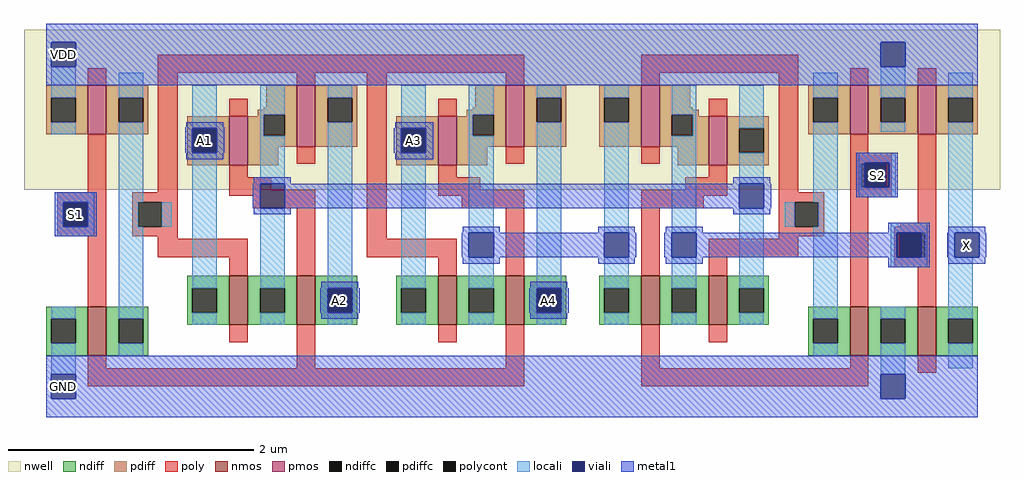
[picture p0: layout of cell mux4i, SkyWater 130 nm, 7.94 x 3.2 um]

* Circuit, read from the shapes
.subckt mux4i A1 A2 A3 A4 GND S1 S2 VDD X
XM1 n1 S1 GND VSUBS sky130_fd_pr__nfet_01v8 w=0.4 l=0.15
XM2 n2 n1 A1 VSUBS sky130_fd_pr__nfet_01v8 w=0.4 l=0.15
XM3 A2 S1 n2 VSUBS sky130_fd_pr__nfet_01v8 w=0.4 l=0.15
XM4 n3 n1 A3 VSUBS sky130_fd_pr__nfet_01v8 w=0.4 l=0.15
XM5 A4 S1 n3 VSUBS sky130_fd_pr__nfet_01v8 w=0.4 l=0.15
XM6 n4 S2 n3 VSUBS sky130_fd_pr__nfet_01v8 w=0.4 l=0.15
XM7 n2 n5 n4 VSUBS sky130_fd_pr__nfet_01v8 w=0.4 l=0.15
XM8 GND S2 n5 VSUBS sky130_fd_pr__nfet_01v8 w=0.4 l=0.15
XM9 X n4 GND VSUBS sky130_fd_pr__nfet_01v8 w=0.4 l=0.15
XM10 n1 S1 VDD n6 sky130_fd_pr__pfet_01v8 w=0.4 l=0.15
XM11 n2 S1 A1 n6 sky130_fd_pr__pfet_01v8 w=0.4 l=0.15
XM12 A2 n1 n2 n6 sky130_fd_pr__pfet_01v8 w=0.5 l=0.15
XM13 n3 S1 A3 n6 sky130_fd_pr__pfet_01v8 w=0.4 l=0.15
XM14 A4 n1 n3 n6 sky130_fd_pr__pfet_01v8 w=0.5 l=0.15
XM15 n4 n5 n3 n6 sky130_fd_pr__pfet_01v8 w=0.5 l=0.15
XM16 n2 S2 n4 n6 sky130_fd_pr__pfet_01v8 w=0.4 l=0.15
XM17 VDD S2 n5 n6 sky130_fd_pr__pfet_01v8 w=0.4 l=0.15
XM18 X n4 VDD n6 sky130_fd_pr__pfet_01v8 w=0.4 l=0.15
.ends

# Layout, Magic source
magic
tech sky130A
<< nwell >>
rect -17 185 777 315
<< nmos >>
rect 35 50 50 90
rect 150 75 165 115
rect 205 75 220 115
rect 320 75 335 115
rect 375 75 390 115
rect 485 75 500 115
rect 540 75 555 115
rect 655 50 670 90
rect 710 50 725 90
<< pmos >>
rect 35 230 50 270
rect 150 205 165 245
rect 205 220 220 270
rect 320 205 335 245
rect 375 220 390 270
rect 485 220 500 270
rect 540 205 555 245
rect 655 230 670 270
rect 710 230 725 270
<< ndiff >>
rect 116 105 150 115
rect 1 80 35 90
rect 1 60 5 80
rect 25 60 35 80
rect 1 50 35 60
rect 50 80 84 90
rect 50 60 60 80
rect 80 60 84 80
rect 116 85 120 105
rect 140 85 150 105
rect 116 75 150 85
rect 165 105 205 115
rect 165 85 175 105
rect 195 85 205 105
rect 165 75 205 85
rect 220 105 254 115
rect 220 85 230 105
rect 250 85 254 105
rect 220 75 254 85
rect 286 105 320 115
rect 286 85 290 105
rect 310 85 320 105
rect 286 75 320 85
rect 335 105 375 115
rect 335 85 345 105
rect 365 85 375 105
rect 335 75 375 85
rect 390 105 424 115
rect 390 85 400 105
rect 420 85 424 105
rect 390 75 424 85
rect 451 105 485 115
rect 451 85 455 105
rect 475 85 485 105
rect 451 75 485 85
rect 500 105 540 115
rect 500 85 510 105
rect 530 85 540 105
rect 500 75 540 85
rect 555 105 589 115
rect 555 85 565 105
rect 585 85 589 105
rect 555 75 589 85
rect 621 80 655 90
rect 50 50 84 60
rect 621 60 625 80
rect 645 60 655 80
rect 621 50 655 60
rect 670 80 710 90
rect 670 60 680 80
rect 700 60 710 80
rect 670 50 710 60
rect 725 80 759 90
rect 725 60 735 80
rect 755 60 759 80
rect 725 50 759 60
<< pdiff >>
rect 1 260 35 270
rect 1 240 5 260
rect 25 240 35 260
rect 1 230 35 240
rect 50 260 84 270
rect 50 240 60 260
rect 80 240 84 260
rect 50 230 84 240
rect 180 252 205 270
rect 178 250 205 252
rect 173 246 205 250
rect 173 245 178 246
rect 116 235 150 245
rect 116 215 120 235
rect 140 215 150 235
rect 116 205 150 215
rect 165 229 178 245
rect 195 229 205 246
rect 165 220 205 229
rect 220 260 254 270
rect 220 240 230 260
rect 250 240 254 260
rect 220 220 254 240
rect 165 205 190 220
rect 350 252 375 270
rect 348 250 375 252
rect 343 246 375 250
rect 343 245 348 246
rect 286 235 320 245
rect 286 215 290 235
rect 310 215 320 235
rect 286 205 320 215
rect 335 229 348 245
rect 365 229 375 246
rect 335 220 375 229
rect 390 260 424 270
rect 390 240 400 260
rect 420 240 424 260
rect 390 220 424 240
rect 451 260 485 270
rect 451 240 455 260
rect 475 240 485 260
rect 451 220 485 240
rect 500 252 525 270
rect 500 250 527 252
rect 500 246 532 250
rect 500 229 510 246
rect 527 245 532 246
rect 527 229 540 245
rect 500 220 540 229
rect 335 205 360 220
rect 515 205 540 220
rect 555 235 589 245
rect 555 215 565 235
rect 585 215 589 235
rect 555 205 589 215
rect 621 260 655 270
rect 621 240 625 260
rect 645 240 655 260
rect 621 230 655 240
rect 670 260 710 270
rect 670 240 680 260
rect 700 240 710 260
rect 670 230 710 240
rect 725 260 759 270
rect 725 240 735 260
rect 755 240 759 260
rect 725 230 759 240
<< ndiffc >>
rect 5 60 25 80
rect 60 60 80 80
rect 120 85 140 105
rect 175 85 195 105
rect 230 85 250 105
rect 290 85 310 105
rect 345 85 365 105
rect 400 85 420 105
rect 455 85 475 105
rect 510 85 530 105
rect 565 85 585 105
rect 625 60 645 80
rect 680 60 700 80
rect 735 60 755 80
<< pdiffc >>
rect 5 240 25 260
rect 60 240 80 260
rect 120 215 140 235
rect 178 229 195 246
rect 230 240 250 260
rect 290 215 310 235
rect 348 229 365 246
rect 400 240 420 260
rect 455 240 475 260
rect 510 229 527 246
rect 565 215 585 235
rect 625 240 645 260
rect 680 240 700 260
rect 735 240 755 260
<< poly >>
rect 35 270 50 284
rect 92 280 390 295
rect 35 183 50 230
rect 92 183 108 280
rect 205 270 220 280
rect 150 245 165 259
rect 205 206 220 220
rect 10 175 50 183
rect 10 155 15 175
rect 34 155 50 175
rect 10 147 50 155
rect 71 175 108 183
rect 150 195 165 205
rect 150 185 184 195
rect 150 180 220 185
rect 71 155 76 175
rect 95 155 108 175
rect 169 170 220 180
rect 71 147 108 155
rect 35 90 50 147
rect 92 145 108 147
rect 92 130 165 145
rect 150 115 165 130
rect 205 115 220 170
rect 262 145 278 280
rect 375 270 390 280
rect 485 280 613 295
rect 485 270 500 280
rect 320 245 335 259
rect 540 245 555 259
rect 375 206 390 220
rect 485 206 500 220
rect 320 195 335 205
rect 540 195 555 205
rect 320 185 354 195
rect 521 185 555 195
rect 320 180 390 185
rect 339 170 390 180
rect 262 130 335 145
rect 320 115 335 130
rect 375 115 390 170
rect 485 180 555 185
rect 597 183 613 280
rect 655 270 670 284
rect 710 270 725 284
rect 655 215 670 230
rect 655 206 689 215
rect 655 187 664 206
rect 684 187 689 206
rect 485 170 536 180
rect 597 175 634 183
rect 485 115 500 170
rect 597 155 610 175
rect 629 155 634 175
rect 597 147 634 155
rect 655 179 689 187
rect 597 145 613 147
rect 540 130 613 145
rect 540 115 555 130
rect 655 90 670 179
rect 710 158 725 230
rect 696 155 725 158
rect 691 150 725 155
rect 691 130 696 150
rect 716 130 725 150
rect 691 122 725 130
rect 710 90 725 122
rect 150 61 165 75
rect 35 40 50 50
rect 205 40 220 75
rect 320 61 335 75
rect 375 40 390 75
rect 35 25 390 40
rect 485 40 500 75
rect 540 61 555 75
rect 655 40 670 50
rect 485 25 670 40
rect 710 36 725 50
<< polycont >>
rect 15 155 34 175
rect 76 155 95 175
rect 664 187 684 206
rect 610 155 629 175
rect 696 130 716 150
<< locali >>
rect 5 260 25 285
rect 5 230 25 240
rect 60 260 80 280
rect 10 175 40 183
rect 10 155 15 175
rect 35 155 40 175
rect 10 147 40 155
rect 60 175 80 240
rect 120 235 140 270
rect 60 155 76 175
rect 95 155 103 175
rect 5 80 25 90
rect 5 35 25 60
rect 60 80 80 155
rect 120 105 140 215
rect 120 75 140 85
rect 175 246 195 270
rect 175 229 178 246
rect 175 190 195 229
rect 175 105 195 170
rect 175 75 195 85
rect 230 260 250 270
rect 230 105 250 240
rect 230 75 250 85
rect 290 235 310 270
rect 290 105 310 215
rect 290 75 310 85
rect 345 246 365 270
rect 345 229 348 246
rect 345 150 365 229
rect 345 105 365 130
rect 345 75 365 85
rect 400 260 420 270
rect 400 105 420 240
rect 400 75 420 85
rect 455 260 475 270
rect 455 150 475 240
rect 455 105 475 130
rect 455 75 475 85
rect 510 246 530 270
rect 527 229 530 246
rect 510 150 530 229
rect 510 105 530 130
rect 510 75 530 85
rect 565 235 585 270
rect 565 190 585 215
rect 625 260 645 280
rect 625 175 645 240
rect 680 260 700 285
rect 680 232 700 240
rect 735 260 755 280
rect 662 207 692 215
rect 662 206 667 207
rect 662 187 664 206
rect 687 187 692 207
rect 662 179 692 187
rect 565 105 585 170
rect 602 155 610 175
rect 629 155 645 175
rect 565 75 585 85
rect 625 80 645 155
rect 688 150 718 158
rect 688 130 693 150
rect 716 130 718 150
rect 688 122 718 130
rect 735 150 755 240
rect 735 130 740 150
rect 60 50 80 60
rect 625 50 645 60
rect 680 80 700 90
rect 680 35 700 60
rect 735 80 755 130
rect 735 40 755 60
<< viali >>
rect 5 285 25 305
rect 680 285 700 305
rect 15 155 34 175
rect 34 155 35 175
rect 120 215 140 235
rect 175 170 195 190
rect 230 85 250 105
rect 290 215 310 235
rect 345 130 365 150
rect 400 85 420 105
rect 455 130 475 150
rect 510 130 530 150
rect 565 170 585 190
rect 667 206 687 207
rect 667 187 684 206
rect 684 187 687 206
rect 693 130 696 150
rect 696 130 713 150
rect 740 130 760 150
rect 5 15 25 35
rect 680 15 700 35
<< metal1 >>
rect 1 305 759 320
rect 1 285 5 305
rect 25 285 680 305
rect 700 285 759 305
rect 1 270 759 285
rect 115 236 145 240
rect 114 235 146 236
rect 285 235 316 240
rect 114 215 120 235
rect 140 215 146 235
rect 284 215 290 235
rect 310 215 316 235
rect 115 210 145 215
rect 285 210 316 215
rect 660 207 694 215
rect 170 190 200 195
rect 560 190 590 195
rect 8 175 42 183
rect 8 155 15 175
rect 35 155 42 175
rect 169 170 175 190
rect 195 170 565 190
rect 585 170 591 190
rect 660 187 667 207
rect 687 187 694 207
rect 660 179 694 187
rect 170 165 200 170
rect 560 165 590 170
rect 8 147 42 155
rect 340 150 370 155
rect 450 150 480 155
rect 505 150 535 155
rect 686 150 720 158
rect 735 150 765 155
rect 339 130 345 150
rect 365 130 455 150
rect 475 130 481 150
rect 504 130 510 150
rect 530 130 693 150
rect 713 130 720 150
rect 734 130 740 150
rect 760 130 766 150
rect 340 125 370 130
rect 450 125 480 130
rect 505 125 535 130
rect 686 122 720 130
rect 735 125 765 130
rect 225 105 255 110
rect 395 105 425 110
rect 224 85 230 105
rect 250 85 256 105
rect 394 85 400 105
rect 420 85 426 105
rect 225 80 255 85
rect 395 80 425 85
rect 1 35 759 50
rect 1 15 5 35
rect 25 15 680 35
rect 700 15 759 35
rect 1 0 759 15
<< labels >>
rlabel viali 15 295 15 295 1 VDD
rlabel viali 15 25 15 25 1 GND
rlabel viali 130 225 130 225 1 A1
rlabel viali 25 165 25 165 1 S1
rlabel viali 240 95 240 95 1 A2
rlabel viali 300 225 300 225 1 A3
rlabel viali 410 95 410 95 1 A4
rlabel viali 677 197 677 197 1 S2
rlabel viali 750 140 750 140 1 X
<< end >>
